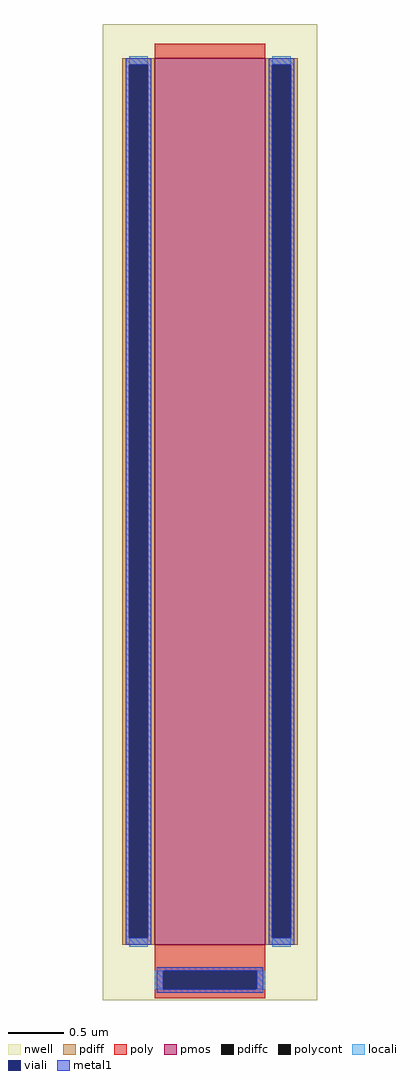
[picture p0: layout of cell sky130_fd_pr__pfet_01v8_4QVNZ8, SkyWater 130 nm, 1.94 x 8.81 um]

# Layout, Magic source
magic
tech sky130A
magscale 1 2
<< nwell >>
rect -194 -864 194 898
<< pmos >>
rect -100 -764 100 836
<< pdiff >>
rect -158 824 -100 836
rect -158 -752 -146 824
rect -112 -752 -100 824
rect -158 -764 -100 -752
rect 100 824 158 836
rect 100 -752 112 824
rect 146 -752 158 824
rect 100 -764 158 -752
<< pdiffc >>
rect -146 -752 -112 824
rect 112 -752 146 824
<< poly >>
rect -100 836 100 862
rect -100 -811 100 -764
rect -100 -845 -84 -811
rect 84 -845 100 -811
rect -100 -861 100 -845
<< polycont >>
rect -84 -845 84 -811
<< locali >>
rect -146 824 -112 840
rect -146 -768 -112 -752
rect 112 824 146 840
rect 112 -768 146 -752
rect -100 -845 -84 -811
rect 84 -845 100 -811
<< viali >>
rect -146 -752 -112 824
rect 112 -752 146 824
rect -84 -845 84 -811
<< metal1 >>
rect -152 824 -106 836
rect -152 -752 -146 824
rect -112 -752 -106 824
rect -152 -764 -106 -752
rect 106 824 152 836
rect 106 -752 112 824
rect 146 -752 152 824
rect 106 -764 152 -752
rect -96 -811 96 -805
rect -96 -845 -84 -811
rect 84 -845 96 -811
rect -96 -851 96 -845
<< properties >>
string gencell sky130_fd_pr__pfet_01v8
string library sky130
string parameters w 8.0 l 1.0 m 1 nf 1 diffcov 100 polycov 100 guard 0 glc 1 grc 1 gtc 1 gbc 1 tbcov 100 rlcov 100 topc 0 botc 1 poverlap 0 doverlap 1 lmin 0.15 wmin 0.42 compatible {sky130_fd_pr__pfet_01v8  sky130_fd_pr__pfet_01v8_lvt sky130_fd_pr__pfet_01v8_hvt  sky130_fd_pr__pfet_g5v0d10v5} full_metal 1 viasrc 100 viadrn 100 viagate 100 viagb 0 viagr 0 viagl 0 viagt 0
<< end >>
